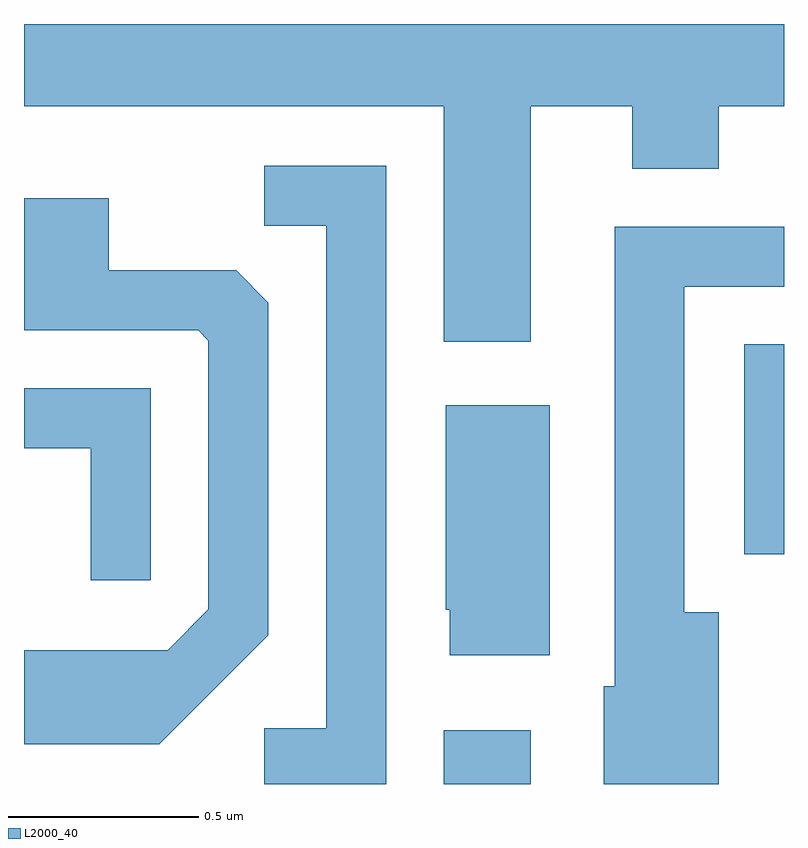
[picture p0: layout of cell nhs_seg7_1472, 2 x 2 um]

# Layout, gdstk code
import gdstk
lib = gdstk.Library(unit=1e-6, precision=1e-09)
def R(c, l, rs):  # rectangles x0, y0, x1, y1
    for r in rs: c.add(gdstk.rectangle(r[:2], r[2:], *l))
def P(c, l, *ps):  # polygons
    for p in ps: c.add(gdstk.Polygon(p, *l))
L2000_40 = (2000, 40)

nhs_seg7_1472 = lib.new_cell('nhs_seg7_1472')
R(nhs_seg7_1472, L2000_40, [(196.716,1770.252,196.944,1770.394), (197.506,1770.856,197.611,1771.409)])
P(nhs_seg7_1472, L2000_40, [(196.944,1772.036),(197.211,1772.036),(197.211,1771.871),(197.439,1771.871),(197.439,1772.036),(197.611,1772.036),(197.611,1772.252),(195.611,1772.252),(195.611,1772.036),(196.716,1772.036),(196.716,1771.416),(196.944,1771.416)],
  [(196.564,1771.879),(196.243,1771.879),(196.243,1771.721),(196.406,1771.721),(196.406,1770.399),(196.243,1770.399),(196.243,1770.252),(196.564,1770.252)],
  [(196.254,1770.644),(196.254,1771.519),(196.169,1771.604),(195.834,1771.604),(195.834,1771.794),(195.611,1771.794),(195.611,1771.446),(196.069,1771.446),(196.096,1771.419),(196.096,1770.712),(195.989,1770.604),(195.611,1770.604),(195.611,1770.356),(195.967,1770.356)],
  [(197.439,1770.704),(197.349,1770.704),(197.349,1771.561),(197.611,1771.561),(197.611,1771.719),(197.166,1771.719),(197.166,1770.509),(197.136,1770.509),(197.136,1770.252),(197.439,1770.252)],
  [(195.944,1771.294),(195.611,1771.294),(195.611,1771.136),(195.786,1771.136),(195.786,1770.788),(195.944,1770.788)],
  [(196.994,1771.249),(196.721,1771.249),(196.721,1770.71),(196.731,1770.71),(196.731,1770.591),(196.994,1770.591)])

lib.write_gds('nhs_seg7_1472.gds')
